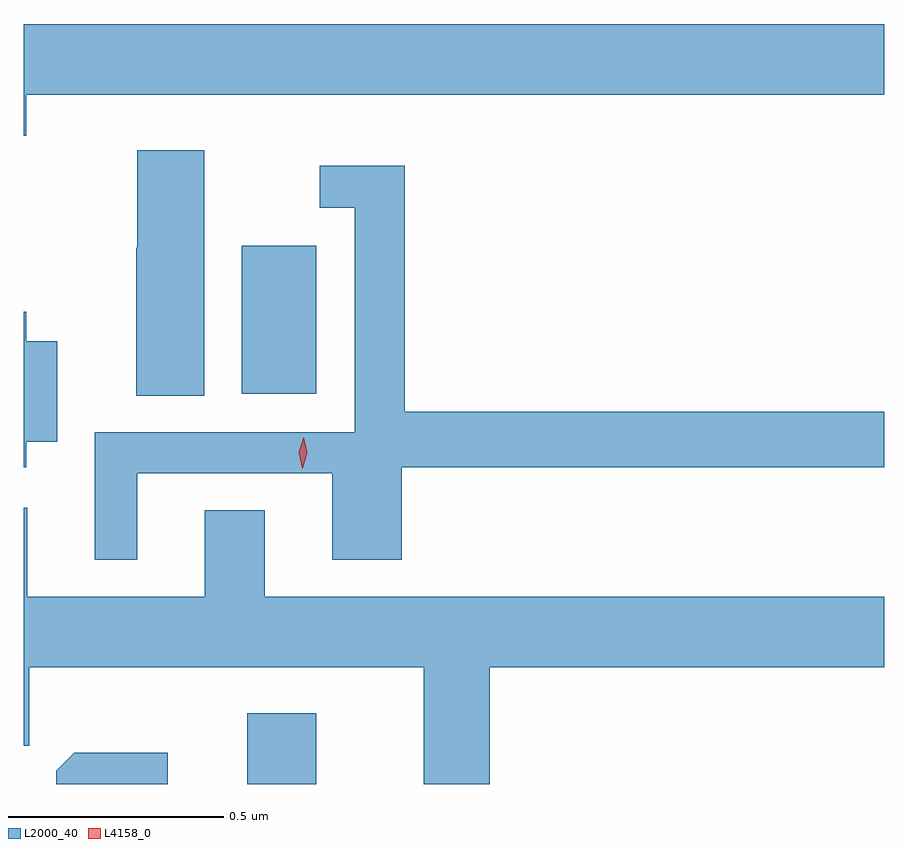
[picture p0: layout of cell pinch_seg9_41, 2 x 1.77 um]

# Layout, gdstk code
import gdstk
lib = gdstk.Library(unit=1e-6, precision=1e-09)
def R(c, l, rs):  # rectangles x0, y0, x1, y1
    for r in rs: c.add(gdstk.rectangle(r[:2], r[2:], *l))
def P(c, l, *ps):  # polygons
    for p in ps: c.add(gdstk.Polygon(p, *l))
L2000_40 = (2000, 40)
L4158_0 = (4158, 0)

pinch_seg9_41 = lib.new_cell('pinch_seg9_41')
R(pinch_seg9_41, L2000_40, [(1006.742,1234.777,1006.903,1234.942), (1006.73,1235.684,1006.903,1236.028)])
P(pinch_seg9_41, L2000_40, [(1006.229,1236.38),(1008.223,1236.38),(1008.223,1236.544),(1006.223,1236.544),(1006.223,1236.284),(1006.229,1236.284)],
  [(1006.642,1236.25),(1006.487,1236.25),(1006.487,1236.024),(1006.484,1236.024),(1006.484,1235.68),(1006.642,1235.68)],
  [(1006.486,1235.499),(1006.94,1235.499),(1006.94,1235.298),(1007.102,1235.298),(1007.102,1235.514),(1008.223,1235.514),(1008.223,1235.642),(1007.108,1235.642),(1007.108,1236.214),(1006.911,1236.214),(1006.911,1236.117),(1006.992,1236.117),(1006.992,1235.595),(1006.388,1235.595),(1006.388,1235.298),(1006.486,1235.298)],
  [(1006.228,1235.573),(1006.3,1235.573),(1006.3,1235.806),(1006.228,1235.806),(1006.228,1235.875),(1006.223,1235.875),(1006.223,1235.514),(1006.228,1235.514)],
  [(1007.306,1235.048),(1008.223,1235.048),(1008.223,1235.212),(1006.783,1235.212),(1006.783,1235.414),(1006.643,1235.414),(1006.643,1235.212),(1006.231,1235.212),(1006.231,1235.419),(1006.223,1235.419),(1006.223,1234.866),(1006.235,1234.866),(1006.235,1235.048),(1007.153,1235.048),(1007.153,1234.777),(1007.306,1234.777)],
  [(1006.558,1234.85),(1006.34,1234.85),(1006.298,1234.808),(1006.298,1234.777),(1006.558,1234.777)])
P(pinch_seg9_41, L4158_0, [(1006.87,1235.511),(1006.862,1235.548),(1006.874,1235.583),(1006.874,1235.583),(1006.874,1235.583),(1006.882,1235.547),(1006.871,1235.511),(1006.871,1235.511)])

lib.write_gds('pinch_seg9_41.gds')
